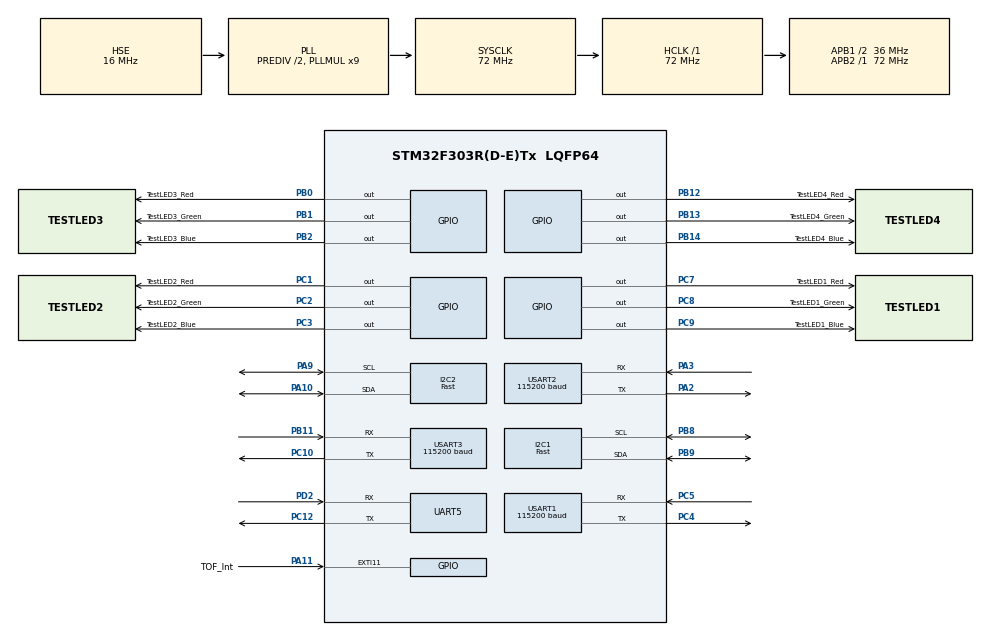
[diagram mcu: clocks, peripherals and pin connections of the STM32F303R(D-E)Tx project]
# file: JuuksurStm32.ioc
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Dma.Request0=USART2_TX
Dma.Request1=USART3_TX
Dma.Request2=USART1_TX
Dma.USART1_TX.2.Direction=DMA_MEMORY_TO_PERIPH
Dma.USART1_TX.2.Instance=DMA1_Channel4
Dma.USART1_TX.2.MemDataAlignment=DMA_MDATAALIGN_BYTE
Dma.USART1_TX.2.MemInc=DMA_MINC_ENABLE
Dma.USART1_TX.2.Mode=DMA_NORMAL
Dma.USART1_TX.2.PeriphDataAlignment=DMA_PDATAALIGN_BYTE
Dma.USART1_TX.2.PeriphInc=DMA_PINC_DISABLE
Dma.USART1_TX.2.Priority=DMA_PRIORITY_LOW
Dma.USART2_TX.0.Direction=DMA_MEMORY_TO_PERIPH
Dma.USART2_TX.0.Instance=DMA1_Channel7
Dma.USART2_TX.0.MemDataAlignment=DMA_MDATAALIGN_BYTE
Dma.USART2_TX.0.MemInc=DMA_MINC_ENABLE
Dma.USART2_TX.0.Mode=DMA_NORMAL
Dma.USART2_TX.0.PeriphDataAlignment=DMA_PDATAALIGN_BYTE
Dma.USART2_TX.0.PeriphInc=DMA_PINC_DISABLE
Dma.USART2_TX.0.Priority=DMA_PRIORITY_LOW
Dma.USART3_TX.1.Direction=DMA_MEMORY_TO_PERIPH
Dma.USART3_TX.1.Instance=DMA1_Channel2
Dma.USART3_TX.1.MemDataAlignment=DMA_MDATAALIGN_BYTE
Dma.USART3_TX.1.MemInc=DMA_MINC_ENABLE
Dma.USART3_TX.1.Mode=DMA_NORMAL
Dma.USART3_TX.1.PeriphDataAlignment=DMA_PDATAALIGN_BYTE
Dma.USART3_TX.1.PeriphInc=DMA_PINC_DISABLE
Dma.USART3_TX.1.Priority=DMA_PRIORITY_LOW
I2C1.I2C_Speed_Mode=I2C_Fast
I2C1.Timing=0x0000020B
I2C2.I2C_Speed_Mode=I2C_Fast
I2C2.Timing=0x0000020B
Mcu.Family=STM32F3
Mcu.Name=STM32F303R(D-E)Tx
Mcu.Package=LQFP64
NVIC.DMA1_Channel2_IRQn=true\:0\:0\:false\:false\:true\:false
NVIC.DMA1_Channel4_IRQn=true\:0\:0\:false\:false\:true\:false
NVIC.DMA1_Channel7_IRQn=true\:2\:0\:true\:false\:true\:false
NVIC.EXTI15_10_IRQn=true\:4\:0\:true\:false\:true\:true
NVIC.I2C1_ER_IRQn=true\:4\:0\:true\:false\:true\:true
NVIC.I2C1_EV_IRQn=true\:4\:0\:true\:false\:true\:true
NVIC.PriorityGroup=NVIC_PRIORITYGROUP_4
NVIC.TIM3_IRQn=true\:4\:0\:true\:false\:true\:true
NVIC.TIM6_DAC_IRQn=true\:3\:0\:true\:false\:true\:true
NVIC.TIM7_IRQn=true\:3\:0\:true\:false\:true\:true
NVIC.UART5_IRQn=true\:0\:0\:false\:false\:true\:true
NVIC.USART1_IRQn=true\:0\:0\:false\:false\:true\:true
NVIC.USART2_IRQn=true\:0\:0\:true\:false\:true\:true
NVIC.USART3_IRQn=true\:0\:0\:true\:false\:true\:true
PA10.Mode=I2C
PA10.Signal=I2C2_SDA
PA11.GPIO_Label=TOF_Int
PA11.GPIO_ModeDefaultEXTI=GPIO_MODE_IT_FALLING
PA11.Signal=GPXTI11
PA13.Mode=Serial_Wire
PA13.Signal=SYS_JTMS-SWDIO
PA14.Mode=Serial_Wire
PA14.Signal=SYS_JTCK-SWCLK
PA2.Mode=Asynchronous
PA2.Signal=USART2_TX
PA3.Mode=Asynchronous
PA3.Signal=USART2_RX
PA9.Mode=I2C
PA9.Signal=I2C2_SCL
PB0.GPIO_Label=TestLED3_Red
PB0.Signal=GPIO_Output
PB1.GPIO_Label=TestLED3_Green
PB1.Signal=GPIO_Output
PB11.Mode=Asynchronous
PB11.Signal=USART3_RX
PB12.GPIO_Label=TestLED4_Red
PB12.Signal=GPIO_Output
PB13.GPIO_Label=TestLED4_Green
PB13.Signal=GPIO_Output
PB14.GPIO_Label=TestLED4_Blue
PB14.Signal=GPIO_Output
PB2.GPIO_Label=TestLED3_Blue
PB2.Signal=GPIO_Output
PB8.Mode=I2C
PB8.Signal=I2C1_SCL
PB9.Mode=I2C
PB9.Signal=I2C1_SDA
PC1.GPIO_Label=TestLED2_Red
PC1.Signal=GPIO_Output
PC10.Mode=Asynchronous
PC10.Signal=USART3_TX
PC12.Mode=Asynchronous
PC12.Signal=UART5_TX
PC2.GPIO_Label=TestLED2_Green
PC2.Signal=GPIO_Output
PC3.GPIO_Label=TestLED2_Blue
PC3.Signal=GPIO_Output
PC4.Mode=Asynchronous
PC4.Signal=USART1_TX
PC5.Mode=Asynchronous
PC5.Signal=USART1_RX
PC7.GPIO_Label=TestLED1_Red
PC7.Signal=GPIO_Output
PC8.GPIO_Label=TestLED1_Green
PC8.Signal=GPIO_Output
PC9.GPIO_Label=TestLED1_Blue
PC9.Signal=GPIO_Output
PD2.Mode=Asynchronous
PD2.Signal=UART5_RX
PF0-OSC_IN.Mode=HSE-External-Oscillator
PF0-OSC_IN.Signal=RCC_OSC_IN
PF1-OSC_OUT.Mode=HSE-External-Oscillator
PF1-OSC_OUT.Signal=RCC_OSC_OUT
ProjectManager.HeapSize=0x200
ProjectManager.StackSize=0x400
ProjectManager.TargetToolchain=Makefile
RCC.AHBFreq_Value=72000000
RCC.APB1CLKDivider=RCC_HCLK_DIV2
RCC.APB1Freq_Value=36000000
RCC.APB1TimFreq_Value=72000000
RCC.APB2Freq_Value=72000000
RCC.APB2TimFreq_Value=72000000
RCC.CortexFreq_Value=72000000
RCC.HCLKFreq_Value=72000000
RCC.HSE_VALUE=16000000
RCC.HSI_VALUE=8000000
RCC.LSE_VALUE=32768
RCC.PLLDivider=RCC_PREDIV_DIV2
RCC.PLLMUL=RCC_PLL_MUL9
RCC.PLLSourceVirtual=RCC_PLLSOURCE_HSE
RCC.SYSCLKFreq_VALUE=72000000
RCC.SYSCLKSourceVirtual=RCC_SYSCLKSOURCE_PLLCLK
RCC.USBFreq_Value=72000000
TIM2.Period=36000
TIM2.Prescaler=1000-1
TIM3.Period=36000
TIM3.Prescaler=2-1
TIM6.AutoReloadPreload=TIM_AUTORELOAD_PRELOAD_DISABLE
TIM6.Period=56000-1
TIM6.Prescaler=16-1
TIM7.AutoReloadPreload=TIM_AUTORELOAD_PRELOAD_DISABLE
TIM7.Period=53000-1
TIM7.Prescaler=16-1
UART5.OverrunDisableParam=UART_ADVFEATURE_OVERRUN_DISABLE
USART1.BaudRate=115200
USART1.OverrunDisableParam=ADVFEATURE_OVERRUN_DISABLE
USART1.VirtualMode-Asynchronous=VM_ASYNC
USART2.BaudRate=115200
USART2.OverrunDisableParam=ADVFEATURE_OVERRUN_DISABLE
USART2.VirtualMode-Asynchronous=VM_ASYNC
USART3.BaudRate=115200
USART3.OverrunDisableParam=ADVFEATURE_OVERRUN_DISABLE
USART3.VirtualMode-Asynchronous=VM_ASYNC
VP_TIM2_VS_ClockSourceINT.Mode=Internal
VP_TIM3_VS_ClockSourceINT.Mode=Internal
VP_TIM6_VS_ClockSourceINT.Mode=Enable_Timer
VP_TIM7_VS_ClockSourceINT.Mode=Enable_Timer
board=custom

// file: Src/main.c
/* USER CODE BEGIN Header */
/**
  ******************************************************************************
  * @file           : main.c
  * @brief          : Main program body
  ******************************************************************************
  ** This notice applies to any and all portions of this file
  * that are not between comment pairs USER CODE BEGIN and
  * USER CODE END. Other portions of this file, whether
  * inserted by the user or by software development tools
  * are owned by their respective copyright owners.
  *
  * COPYRIGHT(c) 2019 STMicroelectronics
  *
  * Redistribution and use in source and binary forms, with or without modification,
  * are permitted provided that the following conditions are met:
  *   1. Redistributions of source code must retain the above copyright notice,
  *      this list of conditions and the following disclaimer.
  *   2. Redistributions in binary form must reproduce the above copyright notice,
  *      this list of conditions and the following disclaimer in the documentation
  *      and/or other materials provided with the distribution.
  *   3. Neither the name of STMicroelectronics nor the names of its contributors
  *      may be used to endorse or promote products derived from this software
  *      without specific prior written permission.
  *
  * THIS SOFTWARE IS PROVIDED BY THE COPYRIGHT HOLDERS AND CONTRIBUTORS "AS IS"
  * AND ANY EXPRESS OR IMPLIED WARRANTIES, INCLUDING, BUT NOT LIMITED TO, THE
  * IMPLIED WARRANTIES OF MERCHANTABILITY AND FITNESS FOR A PARTICULAR PURPOSE ARE
  * DISCLAIMED. IN NO EVENT SHALL THE COPYRIGHT HOLDER OR CONTRIBUTORS BE LIABLE
  * FOR ANY DIRECT, INDIRECT, INCIDENTAL, SPECIAL, EXEMPLARY, OR CONSEQUENTIAL
  * DAMAGES (INCLUDING, BUT NOT LIMITED TO, PROCUREMENT OF SUBSTITUTE GOODS OR
  * SERVICES; LOSS OF USE, DATA, OR PROFITS; OR BUSINESS INTERRUPTION) HOWEVER
  * CAUSED AND ON ANY THEORY OF LIABILITY, WHETHER IN CONTRACT, STRICT LIABILITY,
  * OR TORT (INCLUDING NEGLIGENCE OR OTHERWISE) ARISING IN ANY WAY OUT OF THE USE
  * OF THIS SOFTWARE, EVEN IF ADVISED OF THE POSSIBILITY OF SUCH DAMAGE.
  *
  ******************************************************************************
  */
/* USER CODE END Header */

#include "main.h"
#include "dma.h"
#include "i2c.h"
#include "tim.h"
#include "usart.h"
#include "gpio.h"

/* USER CODE BEGIN Includes */
#include <math.h>
#include <assert.h>
#include <string.h>
#include "vl53l1_api.h"
/* USER CODE END Includes */

/* USER CODE BEGIN PM */
#define DEG2RAD 0.01745329251f
#define TIM2_MS_PER_TICK 0.01388888888f
/* USER CODE END PM */

/* USER CODE BEGIN PV */
IbusChannels rxChannels; // latest channel state from receiver
IbusChannels piChannels; // latest channel state from pi (autonomous)
IbusStm32State piIbus; // both rx and tx to pi
IbusStm32State rxIbus; // rx comes from receiver, tx goes to FC
IbusStm32State telIbus; // half-duplex UART to FC for telemetry
TfminiStm32State tfmini;
int16_t telYaw, telPitch, telRoll;
int16_t telAccX, telAccY, telAccZ;
void ibus_event(void *usrData, IbusEvent *e);
float realHeightF;
uint16_t realHeight;
uint16_t tfminiLast;
uint32_t lastPiData; // last tick we received control data from Pi
uint8_t failsafePrev; // was failsafe enabled last time we checked (for edge detection)
uint8_t manualPrev; // was manual mode enabled last time we checked? (for edge detection)
uint32_t debugBufferCount;
uint8_t debugBuffer[256];
FailsafeState failsafe; // state for failsafe autohover

float opticalFlowX;
float opticalFlowY;
float avgOFX[10];
float avgOFY[10];
uint32_t ofIdx;
double lastOpticalFlowUpdate;

float controlVelX;
float controlVelY;

// height set point
float controlHeight;
// current auto control mode
uint16_t controlMode;

double curTime;

// acceleration considering roll and pitch (cm/s*s)
// NOTE: both have their XY axis parallel to ground plane (they are world space not local)
float accWX;
float accWY;
float accWZ;
// acceleration with bias adjustments
float accWXB;
float accWYB;
float accWZB;

VL53L1_RangingMeasurementData_t vl53Data;

Mpu6050Data mpu;
MpuFusion mpuFusion;
HeightEstimator hEst;
VelocityEstimator vEst;
VelocityController vCtrl;
AngleController aCtrl;
HeightController hCtrl;
LEDController leds;

uint8_t flyMode;

uint32_t lastTelemetryRequest;
uint32_t lastTelemetryResponse;

uint8_t errorOccured;

uint16_t startL;

/* USER CODE END PV */

void SystemClock_Config(void);

/* USER CODE BEGIN 0 */

int _write(int file,char *ptr, int len);

#pragma pack(push, 1)
typedef struct SensorData {
    float acc[3];
    float gyro[3];
    float pitch, roll;
    char hello[6];
} SensorData;
#pragma pack(pop)

// this was used for uart graphing
uint8_t header[3] = {'H', 'H', 'H'};

uint32_t lastVl53Data;
VL53L1_Dev_t vl53;
VL53L1_DEV vl53Dev = &vl53;

SensorData sdata;

/* USER CODE END 0 */

int main(void)
{

  /* MCU Configuration--------------------------------------------------------*/

  /* Reset of all peripherals, Initializes the Flash interface and the Systick. */
  HAL_Init();

  /* USER CODE BEGIN Init */
  lastPiData = 0;
  failsafePrev = 0;
  manualPrev = 0;
  realHeight = 30;
  tfminiLast = 0;
  lastOpticalFlowUpdate = 0.0;
  telRoll = 0;
  telPitch = 0;
  telYaw = 0;
  telAccX = 0;
  telAccY = 0;
  telAccZ = 985; // we expect to be on earth (9.85 m/s2)

  accWX = 0.0f;
  accWY = 0.0f;
  accWZ = 985.0f;

  accWXB = 0.0f;
  accWYB = 0.0f;
  accWZB = 985.0f;
  /* USER CODE END Init */

  /* Configure the system clock */
  SystemClock_Config();

  /* USER CODE BEGIN SysInit */
  HAL_Delay(50);
  /* USER CODE END SysInit */

  /* Initialize all configured peripherals */
  MX_GPIO_Init();
  MX_DMA_Init();
  MX_USART2_UART_Init();
  MX_TIM6_Init();
  MX_UART5_Init();
  MX_USART3_UART_Init();
  MX_TIM7_Init();
  MX_TIM2_Init();
  MX_TIM3_Init();
  MX_I2C1_Init();
  MX_I2C2_Init();
  MX_USART1_UART_Init();

  /* Infinite loop */
  /* USER CODE BEGIN WHILE */

  // enabli pi
  //HAL_GPIO_WritePin(PiEnable_GPIO_Port, PiEnable_Pin, GPIO_PIN_SET);

  /*HAL_GPIO_WritePin(TestLED2_Green_GPIO_Port, TestLED2_Green_Pin, GPIO_PIN_SET);
  HAL_GPIO_WritePin(TestLED3_Green_GPIO_Port, TestLED3_Green_Pin, GPIO_PIN_SET);
  HAL_GPIO_WritePin(TestLED1_Green_GPIO_Port, TestLED1_Green_Pin, GPIO_PIN_SET);*/

  HAL_Delay(10);

  vl53Dev->I2cHandle = &hi2c2;
  vl53Dev->I2cDevAddr = 0x52;

  int vlstatus = VL53L1_WaitDeviceBooted(vl53Dev);
  vlstatus = VL53L1_DataInit(vl53Dev);
  vlstatus = VL53L1_StaticInit(vl53Dev);
  vlstatus = VL53L1_SetDistanceMode(vl53Dev, VL53L1_DISTANCEMODE_SHORT);
  vlstatus = VL53L1_SetMeasurementTimingBudgetMicroSeconds(vl53Dev, 15000);
  vlstatus = VL53L1_SetInterMeasurementPeriodMilliSeconds(vl53Dev, 20);
  vlstatus = VL53L1_StartMeasurement(vl53Dev);
  if(vlstatus) {
      printf("VL53L1_StartMeasurement failed \n");
      while(1);
  }

  mpu.lastData = 0;
  mpu.lastProcess = 0;
  mpu.rawData[0] = 0xFF;

  if(mpu_init(&hi2c1, MPU6050_I2C_ADDR) != HAL_OK) {
      HAL_GPIO_WritePin(TestLED4_Red_GPIO_Port, TestLED4_Red_Pin, GPIO_PIN_SET);
      HAL_GPIO_WritePin(TestLED3_Red_GPIO_Port, TestLED3_Red_Pin, GPIO_PIN_SET);
      HAL_GPIO_WritePin(TestLED2_Red_GPIO_Port, TestLED2_Red_Pin, GPIO_PIN_SET);
      HAL_GPIO_WritePin(TestLED1_Red_GPIO_Port, TestLED1_Red_Pin, GPIO_PIN_SET);
      printf("Failed to find IMU on I2C bus\r\n");
      assert(0); // failed to find mpu6050
  }
  mpu_fusion_init(&mpuFusion);

  height_estimator_init(&hEst);
  velocity_estimator_init(&vEst);

  tfmini_stm32_init(&tfmini, &huart3);
  ibus_stm32_init(&piIbus, &huart2, &huart2, 0);
  ibus_stm32_init(&rxIbus, &huart3, &huart1, 0);
  //ibus_stm32_init(&telIbus, &huart1, &huart1, 1);

  ibus_set_event_callback(&piIbus.ibRx, ibus_event, &piIbus);
  ibus_set_event_callback(&rxIbus.ibRx, ibus_event, &rxIbus);
  //ibus_set_event_callback(&telIbus.ibRx, ibus_event, &telIbus);

  led_controller_init(&leds);

  printf("\r\nstarting...\r\n");
  // start uart TX timer
  HAL_TIM_Base_Start_IT(&htim6);
  HAL_TIM_Base_Start_IT(&htim7);
  // start timer for time measurement
  HAL_TIM_Base_Start(&htim2);
  // start timer for i2c IMU measurement
  HAL_TIM_Base_Start_IT(&htim3);

  startL = TIM2->CNT;

  // initialize ibus channels to default value
  int i;
  for(i = 0; i < 14; i++) {
      rxChannels.channels[i] = IBUS_CHANNEL_DEFAULT;
  }
  for(i = 0; i < 14; i++) {
      piChannels.channels[i] = IBUS_CHANNEL_DEFAULT;
  }
  float lastHeightEstimation = 0.0f;
  float lastVelocityEstimation = 0.0f;
  float lastPrint = 0.0f;

  ibus_stm32_start_receive(&piIbus);
  ibus_stm32_start_receive(&rxIbus);
  //ibus_stm32_start_receive(&telIbus);
  tfmini_stm32_start_receive(&tfmini);

  while (1)
  {
    uint16_t endL = TIM2->CNT;
    uint16_t dif;
    if(endL > startL) {
        dif = endL - startL;
    } else {
        dif = endL + (36000-startL);
    }
    float dt = (dif*TIM2_MS_PER_TICK)/1000.0f;
    startL = endL;

    /* USER CODE END WHILE */

    /* USER CODE BEGIN 3 */

    led_controller_update(&leds, HAL_GetTick());

    if(rxChannels.channels[AUTO_MODE_CH] < 1800) { // auto mode off
        leds.mask[0] = 0x0f;
        leds.mask[1] = 0x00;
        leds.mask[2] = 0x00;
        for(int i = 0; i < 4; i++) {
            leds.toggleInterval[i] = 50;
        }
    } else { // auto mode on
        if((HAL_GetTick() - lastPiData) > 200) { // no pi data
            leds.mask[0] = 0x0f;
            leds.mask[1] = 0x0f;
            leds.mask[2] = 0x00;
            for(int i = 0; i < 4; i++) {
                leds.toggleInterval[i] = 250;
            }
        }  else { // all good
            leds.mask[0] = 0x00;
            leds.mask[1] = 0x0f;
            if(flyMode == 0) {
                leds.mask[2] = 0x00;
            } else {
                leds.mask[2] = 0x0f;
            }
            for(int i = 0; i < 4; i++) {
                leds.toggleInterval[i] = 0;
            }
        }
    }

    ibus_stm32_process_rx(&piIbus);
    ibus_stm32_process_rx(&rxIbus);
    //ibus_stm32_process_rx(&telIbus);
    tfmini_stm32_process_rx(&tfmini);
    if(tfminiLast != tfmini.tfmini.dist) {
        realHeightF = (cosf((((float)telRoll/100.0f)*DEG2RAD)) * cosf(((float)telPitch/100.0f)*DEG2RAD) * tfmini.tfmini.dist);
        realHeight = (uint16_t)realHeightF;
        tfminiLast = tfmini.tfmini.dist;
    }
    mpu_process_data(mpu.rawData, &mpu);
    mpu_update_angle_estimates(&mpu, &mpuFusion, dt);
    if(debugBufferCount > 0) {
        __disable_irq();
        HAL_UART_Transmit_IT(&huart5, debugBuffer, debugBufferCount);
        __enable_irq();
        debugBufferCount = 0;
    }

    float alpha = mpuFusion.roll*DEG2RAD;
    float beta = mpuFusion.pitch*DEG2RAD;
    float accX = mpu.acc[0] - vEst.accBiasX;
    float accY = mpu.acc[1] - vEst.accBiasY;
    float accZ = mpu.acc[2] - hEst.accBias;
    accWX = (mpu.acc[0]*cosf(beta) + mpu.acc[2]*cosf(alpha)*sinf(beta) + mpu.acc[1]*sinf(alpha)*sinf(beta)) * 100.0f;
    accWY = (mpu.acc[1]*cosf(alpha) - mpu.acc[2]*sinf(alpha)) * 100.0f;
    accWZ = (mpu.acc[2]*cosf(alpha)*cosf(beta) - mpu.acc[0]*sinf(beta) + mpu.acc[1]*cosf(beta)*sinf(alpha)) * 100.0f;

    accWXB = (accX*cosf(beta) + accZ*cosf(alpha)*sinf(beta) + accY*sinf(alpha)*sinf(beta)) * 100.0f;
    accWYB = (accY*cosf(alpha) - accZ*sinf(alpha)) * 100.0f;
    accWZB = (accZ*cosf(alpha)*cosf(beta) - accX*sinf(beta) + accY*cosf(beta)*sinf(alpha)) * 100.0f;
    if(lastHeightEstimation+dt >= 0.01f) {
        float hdt = dt+lastHeightEstimation;
        //float accx = mpu.acc[0]*cosf(beta) + mpu.acc[2]*cosf(alpha)*sinf(beta) + mpu.acc[1]*sinf(alpha)*sinf(beta);
        //float accy = mpu.acc[1]*cosf(alpha) - mpu.acc[2]*sinf(alpha);
        if(accWZ != 985.0f) {
            height_estimator_predict(&hEst, accWZ, hdt);
            if(tfminiLast != 0 && tfmini.tfmini.dist != 30) {
                height_estimator_update(&hEst, realHeight, hdt);
            } else if((HAL_GetTick() - lastVl53Data) < 100) {
                height_estimator_update(&hEst, (float)vl53Data.RangeMilliMeter/10.0f, hdt);
            } else /*if(HAL_GetTick() < 5000)*/ {
                height_estimator_update(&hEst, 30.0f, hdt);
            }
        }
        lastHeightEstimation = 0.0f;
    } else {
        lastHeightEstimation += dt;
    }

    if(lastVelocityEstimation+dt >= 0.01f) {
        float vdt = dt+lastVelocityEstimation;
        velocity_estimator_predict(&vEst, accWX, accWY, vdt);
        lastVelocityEstimation = 0.0f;

        avgOFX[ofIdx%10] = vEst.velX;
        avgOFY[ofIdx%10] = vEst.velY;
        ofIdx++;
    } else {
        lastVelocityEstimation += dt;
    }

    if(lastPrint+dt >= 0.1f) {
#if 1
        //float hacc = mpu.acc[2]*100.0f;
        //printf("accZ %f height %f hvel %f accbias %f\r\n", hacc, hEst.height, hEst.heightVel, hEst.accBias);
        //printf("realHeight %f (%d r %f p %f)\r\n", realHeightF, tfmini.tfmini.dist, (float)telRoll/100.0f, (float)telPitch/100.0f);

        //printf("velx estimation %f %f bias %f \r\n", vEst.velX, vEst.velY, vEst.accBiasX);
        //printf("vely estimation %f %f bias %f \r\n", vEst.velY, vEst.velX, vEst.accBiasX);
        //printf("kk %f %f\r\n", vEst.kkx[0], vEst.kkx[1]);
        lastPrint = 0.0f;
#else
        _write(0, (char*)header, 3);
        sdata.acc[0] = mpu.acc[0];
        sdata.acc[1] = mpu.acc[1];
        sdata.acc[2] = mpu.acc[2];
        sdata.gyro[0] = mpu.gyro[0];
        sdata.gyro[1] = mpu.gyro[1];
        sdata.gyro[2] = (float)tfmini.tfmini.dist;
        sdata.pitch = hEst.height;
        sdata.roll = hEst.heightVel;
        strcpy(sdata.hello, "hello");
        _write(0, (char*)&sdata, sizeof(sdata));
#endif
    } else {
        lastPrint += dt;
    }

    curTime += dt;
  }
  /* USER CODE END 3 */
}

void SystemClock_Config(void)
{
  RCC_OscInitTypeDef RCC_OscInitStruct = {0};
  RCC_ClkInitTypeDef RCC_ClkInitStruct = {0};
  RCC_PeriphCLKInitTypeDef PeriphClkInit = {0};

  /**Initializes the CPU, AHB and APB busses clocks
  */
  RCC_OscInitStruct.OscillatorType = RCC_OSCILLATORTYPE_HSI|RCC_OSCILLATORTYPE_HSE;
  RCC_OscInitStruct.HSEState = RCC_HSE_ON;
  RCC_OscInitStruct.HSIState = RCC_HSI_ON;
  RCC_OscInitStruct.HSICalibrationValue = RCC_HSICALIBRATION_DEFAULT;
  RCC_OscInitStruct.PLL.PLLState = RCC_PLL_ON;
  RCC_OscInitStruct.PLL.PLLSource = RCC_PLLSOURCE_HSE;
  RCC_OscInitStruct.PLL.PLLMUL = RCC_PLL_MUL9;
  RCC_OscInitStruct.PLL.PREDIV = RCC_PREDIV_DIV2;
  if (HAL_RCC_OscConfig(&RCC_OscInitStruct) != HAL_OK)
  {
    Error_Handler();
  }
  /**Initializes the CPU, AHB and APB busses clocks
  */
  RCC_ClkInitStruct.ClockType = RCC_CLOCKTYPE_HCLK|RCC_CLOCKTYPE_SYSCLK
                              |RCC_CLOCKTYPE_PCLK1|RCC_CLOCKTYPE_PCLK2;
  RCC_ClkInitStruct.SYSCLKSource = RCC_SYSCLKSOURCE_PLLCLK;
  RCC_ClkInitStruct.AHBCLKDivider = RCC_SYSCLK_DIV1;
  RCC_ClkInitStruct.APB1CLKDivider = RCC_HCLK_DIV2;
  RCC_ClkInitStruct.APB2CLKDivider = RCC_HCLK_DIV1;

  if (HAL_RCC_ClockConfig(&RCC_ClkInitStruct, FLASH_LATENCY_2) != HAL_OK)
  {
    Error_Handler();
  }
  PeriphClkInit.PeriphClockSelection = RCC_PERIPHCLK_USART1|RCC_PERIPHCLK_USART2
                              |RCC_PERIPHCLK_USART3|RCC_PERIPHCLK_UART5
                              |RCC_PERIPHCLK_I2C1|RCC_PERIPHCLK_I2C2
                              |RCC_PERIPHCLK_TIM2|RCC_PERIPHCLK_TIM34;
  PeriphClkInit.Usart1ClockSelection = RCC_USART1CLKSOURCE_PCLK2;
  PeriphClkInit.Usart2ClockSelection = RCC_USART2CLKSOURCE_PCLK1;
  PeriphClkInit.Usart3ClockSelection = RCC_USART3CLKSOURCE_PCLK1;
  PeriphClkInit.Uart5ClockSelection = RCC_UART5CLKSOURCE_PCLK1;
  PeriphClkInit.I2c1ClockSelection = RCC_I2C1CLKSOURCE_HSI;
  PeriphClkInit.I2c2ClockSelection = RCC_I2C2CLKSOURCE_HSI;
  PeriphClkInit.Tim2ClockSelection = RCC_TIM2CLK_HCLK;
  PeriphClkInit.Tim34ClockSelection = RCC_TIM34CLK_HCLK;
  if (HAL_RCCEx_PeriphCLKConfig(&PeriphClkInit) != HAL_OK)
  {
    Error_Handler();
  }
}

/* USER CODE BEGIN 4 */

int __io_putchar(int ch)
{
    //110
  //uint8_t c[1];
  //c[0] = ch & 0xFF;
  //HAL_UART_Transmit(&huart5, &*c, 1, 10);
  return ch;
}

// this is used for libc stdio (printf etc)
int _write(int file,char *ptr, int len)
{
  int left = sizeof(debugBuffer) - debugBufferCount;
  if(len < left) {
      left = len;
  }
  memcpy(debugBuffer + debugBufferCount, ptr, left);
  debugBufferCount += left;
  return len;
}

// NOTE: this should always be called from main not an interrupt
void ibus_event(void *usrData, IbusEvent *e) {
  if(usrData == &piIbus) {
    //printf("pi event!\r\n");
    switch(e->type) {
        case IBUS_CMD_CH:
            piChannels = e->e.ch;
            // 0xFFFF means the value has not been updated
            if(piChannels.channels[8] != 0xFFFF) {
                opticalFlowX = (float)(*((int16_t*)(piChannels.channels+8)))/10.0f;
                opticalFlowY = (float)(*((int16_t*)(piChannels.channels+9)))/10.0f;

                velocity_estimator_update(&vEst, opticalFlowY, opticalFlowX, curTime-lastOpticalFlowUpdate);

                lastOpticalFlowUpdate = curTime;
            }

            // target velocity from Pi
            controlVelX = (float)(*((int16_t*)(piChannels.channels+10)))/10.0f;
            controlVelY = (float)(*((int16_t*)(piChannels.channels+11)))/10.0f;

            controlHeight = (float)(*((int16_t*)(piChannels.channels+12)))/10.0f;
            controlMode = piChannels.channels[13];

            lastPiData = HAL_GetTick();
            //printf("pi ch: %d %d %d %d\r\n", e->e.ch.channels[0], e->e.ch.channels[1], e->e.ch.channels[2], e->e.ch.channels[3]);
            break;
        case IBUS_CMD_ERROR:
            errorOccured = 1;
            break;
    }
  } else if(usrData == &rxIbus) {
    switch(e->type) {
        case IBUS_CMD_CH:
            rxChannels = e->e.ch;
            //printf("rx channels: %d %d %d %d %d\r\n", e->e.ch.channels[0], e->e.ch.channels[1], e->e.ch.channels[2], e->e.ch.channels[3], e->e.ch.channels[5]);
            break;
    }
  } else if(usrData == &telIbus) {
      int sensor;
      int nextSensor = 1;
      switch(e->type) {
          case IBUS_CMD_SENSOR_MEASUREMENT:
              lastTelemetryResponse = HAL_GetTick();
              sensor = e->e.smeas.sensorId;
              nextSensor = sensor+1;
              if(nextSensor > 1 && nextSensor <= 6) { // 1 - roll, 2- pitch, 3 - yaw, 4 - accX, 5 - accY, 6 - accZ
                  send_telemetry_sensor_request(&telIbus, nextSensor);
              }
              // NOTE: ideally we would do discovery, but aint nobody got time for that

              switch(sensor) {
                  case 1: // roll
                    telRoll = e->e.smeas.meas; // angle*100
                    break;
                  case 2: // pitch
                    telPitch = e->e.smeas.meas;
                    break;
                  case 3: // yaw
                    telYaw = e->e.smeas.meas;
                    break;
                  case 4:
                    telAccX = e->e.smeas.meas;
                    break;
                  case 5:
                    telAccY = e->e.smeas.meas;
                    break;
                  case 6:
                    telAccZ = e->e.smeas.meas;
                    break;
              }
              break;
      }
  }
}

/* USER CODE END 4 */

void Error_Handler(void)
{
  /* USER CODE BEGIN Error_Handler_Debug */
  /* User can add his own implementation to report the HAL error return state */
    //HAL_GPIO_WritePin(TestLED2_Green_GPIO_Port, TestLED2_Green_Pin, GPIO_PIN_SET);

  /* USER CODE END Error_Handler_Debug */
}

#ifdef  USE_FULL_ASSERT
/**
  * @brief  Reports the name of the source file and the source line number
  *         where the assert_param error has occurred.
  * @param  file: pointer to the source file name
  * @param  line: assert_param error line source number
  * @retval None
  */
void assert_failed(char *file, uint32_t line)
{
  /* USER CODE BEGIN 6 */
  /* User can add his own implementation to report the file name and line number,
     tex: printf("Wrong parameters value: file %s on line %d\r\n", file, line) */
    //HAL_GPIO_WritePin(TestLED3_Green_GPIO_Port, TestLED3_Green_Pin, GPIO_PIN_SET);
  /* USER CODE END 6 */
}
#endif /* USE_FULL_ASSERT */

/************************ (C) COPYRIGHT STMicroelectronics *****END OF FILE****/
